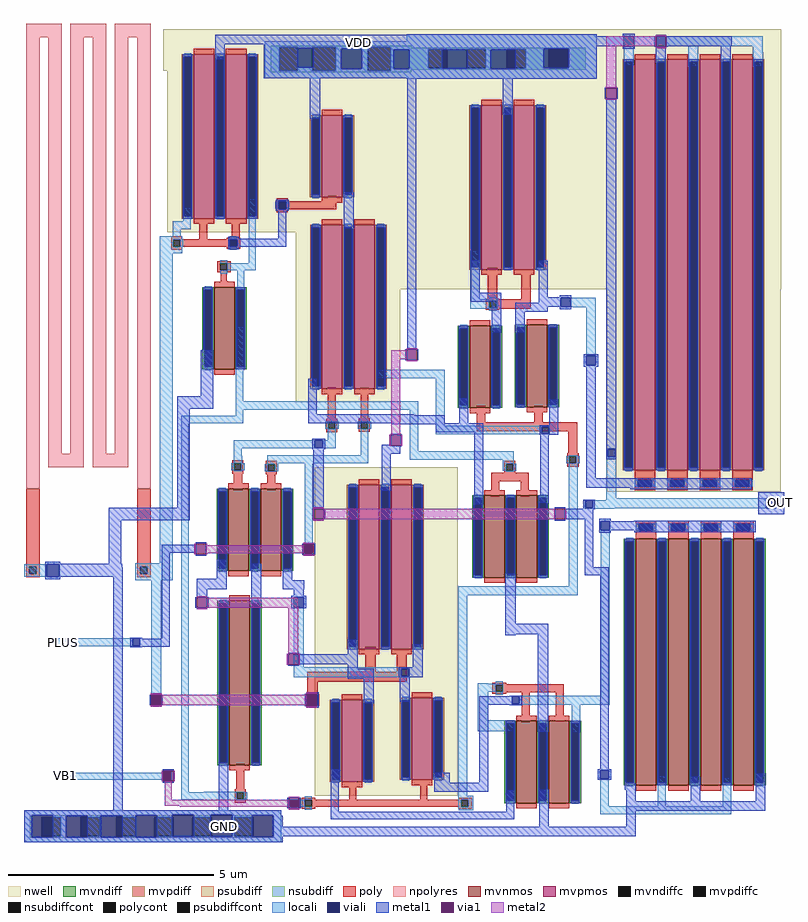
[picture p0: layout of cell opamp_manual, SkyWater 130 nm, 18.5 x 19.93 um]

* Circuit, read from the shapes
.subckt opamp_manual GND OUT PLUS VB1 VDD
XM1 n1 n1 GND GND sky130_fd_pr__nfet_g5v0d10v5 w=2 l=0.5
XM2 n2 OUT n3 GND sky130_fd_pr__nfet_g5v0d10v5 w=2 l=0.5
XM3 n2 n1 GND GND sky130_fd_pr__nfet_g5v0d10v5 w=4 l=0.5
XM4 n4 PLUS n2 GND sky130_fd_pr__nfet_g5v0d10v5 w=2 l=0.5
XM5 n5 VB1 n6 GND sky130_fd_pr__nfet_g5v0d10v5 w=2 l=0.5
XM6 GND n1 n6 GND sky130_fd_pr__nfet_g5v0d10v5 w=2 l=0.5
XM7 GND n7 n7 GND sky130_fd_pr__nfet_g5v0d10v5 w=2 l=0.5
XM8 n8 n1 GND GND sky130_fd_pr__nfet_g5v0d10v5 w=2 l=0.5
XM9 n8 VB1 n9 GND sky130_fd_pr__nfet_g5v0d10v5 w=2 l=0.5
XM10 n10 n7 GND GND sky130_fd_pr__nfet_g5v0d10v5 w=2 l=0.5
XM11 OUT n10 GND GND sky130_fd_pr__nfet_g5v0d10v5 w=6 l=0.5 m=4
XM12 VDD n11 n11 VDD sky130_fd_pr__pfet_g5v0d10v5 w=4 l=0.5
XM13 n1 n11 VDD VDD sky130_fd_pr__pfet_g5v0d10v5 w=4 l=0.5
XM14 n12 n11 VDD VDD sky130_fd_pr__pfet_g5v0d10v5 w=2 l=0.5
XM15 n12 OUT n6 VDD sky130_fd_pr__pfet_g5v0d10v5 w=4 l=0.5
XM16 n3 VB1 n7 n13 sky130_fd_pr__pfet_g5v0d10v5 w=2 l=0.5
XM17 n8 PLUS n12 VDD sky130_fd_pr__pfet_g5v0d10v5 w=4 l=0.5
XM18 VDD n11 n3 n13 sky130_fd_pr__pfet_g5v0d10v5 w=4 l=0.5
XM19 n4 n11 VDD n13 sky130_fd_pr__pfet_g5v0d10v5 w=4 l=0.5
XM20 n10 VB1 n4 n13 sky130_fd_pr__pfet_g5v0d10v5 w=2 l=0.5
XM21 VDD n5 n5 VDD sky130_fd_pr__pfet_g5v0d10v5 w=4 l=0.5
XM22 n9 n5 VDD VDD sky130_fd_pr__pfet_g5v0d10v5 w=4 l=0.5
XM23 OUT n9 VDD VDD sky130_fd_pr__pfet_g5v0d10v5 w=10 l=0.5 m=4
R24 GND n11 sky130_fd_pr__res_generic_po w=0.33 l=66.89
.ends

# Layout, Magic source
magic
tech sky130A
magscale 1 2
<< nwell >>
rect 677 3755 3685 3957
rect 697 2969 3685 3755
rect 1323 2691 3685 2969
rect 1323 2141 1832 2691
rect 1414 228 2112 1825
rect 2837 1707 3683 2691
rect 1423 226 2110 228
<< psubdiff >>
rect 27 123 1213 131
rect 27 30 87 123
rect 180 30 276 123
rect 369 30 450 123
rect 543 30 633 123
rect 726 30 820 123
rect 913 30 1023 123
rect 1116 30 1213 123
rect 27 22 1213 30
<< nsubdiff >>
rect 1202 3869 1886 3877
rect 1202 3756 1243 3869
rect 1333 3756 1404 3869
rect 1517 3756 1673 3869
rect 1786 3868 1886 3869
rect 1786 3860 2734 3868
rect 1786 3768 1967 3860
rect 2059 3768 2156 3860
rect 2248 3768 2350 3860
rect 2442 3768 2555 3860
rect 2647 3768 2734 3860
rect 1786 3760 2734 3768
rect 1786 3756 1886 3760
rect 1202 3748 1886 3756
<< psubdiffcont >>
rect 87 30 180 123
rect 276 30 369 123
rect 450 30 543 123
rect 633 30 726 123
rect 820 30 913 123
rect 1023 30 1116 123
<< nsubdiffcont >>
rect 1243 3756 1333 3869
rect 1404 3756 1517 3869
rect 1673 3756 1786 3869
rect 1967 3768 2059 3860
rect 2156 3768 2248 3860
rect 2350 3768 2442 3860
rect 2555 3768 2647 3860
<< poly >>
rect 1230 3121 1284 3134
rect 1480 3121 1520 3147
rect 1230 3118 1520 3121
rect 1230 3084 1240 3118
rect 1274 3084 1520 3118
rect 1230 3081 1520 3084
rect 1230 3068 1284 3081
rect 716 2935 770 2950
rect 854 2935 891 3030
rect 1012 2944 1049 3035
rect 986 2935 1052 2944
rect 716 2934 1052 2935
rect 716 2900 726 2934
rect 760 2900 1002 2934
rect 1036 2900 1052 2934
rect 716 2898 1052 2900
rect 716 2884 770 2898
rect 986 2890 1052 2898
rect 940 2818 1006 2828
rect 940 2784 956 2818
rect 990 2784 1006 2818
rect 940 2774 1006 2784
rect 958 2732 988 2774
rect 958 2722 992 2732
rect 958 2702 988 2722
rect 2258 2647 2304 2798
rect 2248 2643 2314 2647
rect 2421 2643 2467 2788
rect 2248 2637 2467 2643
rect 2248 2603 2264 2637
rect 2298 2603 2467 2637
rect 2248 2597 2467 2603
rect 2248 2593 2314 2597
rect 1478 2063 1518 2214
rect 1638 2064 1675 2213
rect 1471 2047 1525 2063
rect 1471 2013 1481 2047
rect 1515 2013 1525 2047
rect 1471 1997 1525 2013
rect 1630 2048 1684 2064
rect 1630 2014 1640 2048
rect 1674 2014 1684 2048
rect 1630 1998 1684 2014
rect 2203 2044 2246 2124
rect 2483 2044 2526 2125
rect 2203 2001 2693 2044
rect 2650 1895 2693 2001
rect 2645 1879 2699 1895
rect 1014 1845 1068 1861
rect 1014 1811 1024 1845
rect 1058 1811 1068 1845
rect 1014 1795 1068 1811
rect 1177 1841 1231 1857
rect 1177 1807 1187 1841
rect 1221 1807 1231 1841
rect 1020 1713 1062 1795
rect 1177 1791 1231 1807
rect 2337 1842 2391 1858
rect 2337 1808 2347 1842
rect 2381 1808 2391 1842
rect 2645 1845 2655 1879
rect 2689 1845 2699 1879
rect 2645 1829 2699 1845
rect 2337 1798 2391 1808
rect 1184 1715 1223 1791
rect 2274 1758 2457 1798
rect 2274 1682 2314 1758
rect 2417 1683 2457 1758
rect 1662 831 1712 953
rect 1814 831 1864 937
rect 1379 781 1864 831
rect 1379 720 1429 781
rect 2280 770 2346 778
rect 2280 768 2626 770
rect 2280 734 2296 768
rect 2330 734 2626 768
rect 2280 731 2626 734
rect 2280 724 2346 731
rect 1371 710 1437 720
rect 1371 676 1387 710
rect 1421 676 1437 710
rect 1371 666 1437 676
rect 2423 585 2462 731
rect 2587 590 2626 731
rect 1033 259 1073 383
rect 1026 243 1080 259
rect 1026 209 1036 243
rect 1070 209 1080 243
rect 1026 193 1080 209
rect 1351 208 1417 218
rect 1584 208 1618 298
rect 1929 208 1963 297
rect 2113 208 2179 218
rect 1351 174 1367 208
rect 1401 174 2129 208
rect 2163 174 2179 208
rect 1351 164 1417 174
rect 2113 164 2179 174
<< polycont >>
rect 1240 3084 1274 3118
rect 726 2900 760 2934
rect 1002 2900 1036 2934
rect 956 2784 990 2818
rect 2264 2603 2298 2637
rect 1481 2013 1515 2047
rect 1640 2014 1674 2048
rect 1024 1811 1058 1845
rect 1187 1807 1221 1841
rect 2347 1808 2381 1842
rect 2655 1845 2689 1879
rect 2296 734 2330 768
rect 1387 676 1421 710
rect 1036 209 1070 243
rect 1367 174 1401 208
rect 2129 174 2163 208
<< locali >>
rect 1862 3900 2788 3933
rect 1172 3869 2788 3900
rect 1172 3756 1243 3869
rect 1333 3866 1404 3869
rect 1517 3863 1673 3869
rect 1333 3756 1404 3773
rect 1517 3766 1544 3863
rect 1644 3766 1673 3863
rect 1517 3756 1673 3766
rect 1786 3862 2788 3869
rect 1786 3860 2530 3862
rect 1786 3858 1967 3860
rect 2059 3859 2156 3860
rect 1786 3765 1799 3858
rect 1876 3768 1967 3858
rect 2248 3857 2350 3860
rect 2248 3768 2271 3857
rect 2442 3770 2530 3860
rect 2651 3770 2788 3862
rect 2967 3875 3596 3923
rect 2919 3783 2967 3875
rect 3234 3778 3282 3875
rect 3548 3846 3596 3875
rect 3548 3823 3598 3846
rect 3550 3778 3598 3823
rect 2442 3768 2555 3770
rect 2647 3768 2788 3770
rect 1876 3767 2036 3768
rect 2157 3767 2271 3768
rect 1876 3765 2271 3767
rect 2392 3765 2788 3768
rect 1786 3756 2788 3765
rect 1172 3718 2788 3756
rect 1862 3717 2788 3718
rect 775 3022 812 3088
rect 725 2985 812 3022
rect 725 2950 762 2985
rect 660 2934 770 2950
rect 1002 2936 1036 2950
rect 660 2900 726 2934
rect 760 2900 776 2934
rect 660 2867 770 2900
rect 1002 2884 1036 2899
rect 660 1359 724 2867
rect 956 2818 990 2834
rect 1095 2818 1129 3129
rect 1224 3084 1237 3118
rect 1277 3084 1290 3118
rect 990 2784 1129 2818
rect 956 2768 990 2784
rect 1038 2719 1072 2784
rect 1037 2704 1072 2719
rect 1037 2703 1071 2704
rect 1040 2691 1069 2703
rect 2171 2643 2217 2879
rect 2264 2643 2298 2653
rect 2171 2637 2304 2643
rect 2171 2603 2264 2637
rect 2298 2603 2304 2637
rect 2658 2606 2783 2651
rect 2670 2604 2783 2606
rect 2171 2597 2304 2603
rect 2264 2587 2298 2597
rect 1030 2146 1067 2509
rect 2736 2369 2783 2604
rect 1725 2258 2048 2301
rect 1030 2106 1918 2146
rect 1030 2076 1067 2106
rect 0 1293 110 1354
rect 542 1276 724 1359
rect 765 2039 1067 2076
rect 1478 2047 1518 2050
rect 1639 2048 1676 2050
rect 163 990 567 993
rect 163 956 530 990
rect 564 956 567 990
rect 163 954 567 956
rect 619 713 669 1276
rect 619 675 624 713
rect 664 675 669 713
rect 619 669 669 675
rect 185 306 682 340
rect 765 244 802 2039
rect 1465 2013 1481 2047
rect 1515 2013 1531 2047
rect 1624 2014 1640 2048
rect 1674 2014 1690 2048
rect 1478 1958 1518 2013
rect 1020 1920 1415 1958
rect 1453 1920 1518 1958
rect 1020 1918 1518 1920
rect 1020 1882 1060 1918
rect 1639 1884 1676 2014
rect 1020 1845 1062 1882
rect 1185 1845 1676 1884
rect 1878 1903 1918 2106
rect 2005 2029 2048 2258
rect 2005 2024 2560 2029
rect 2005 1990 2521 2024
rect 2555 1990 2560 2024
rect 2005 1986 2560 1990
rect 2834 1913 2883 1919
rect 2344 1903 2384 1904
rect 1878 1863 2384 1903
rect 2651 1879 2694 1884
rect 1008 1811 1024 1845
rect 1058 1811 1074 1845
rect 1185 1841 1237 1845
rect 1020 1807 1062 1811
rect 1171 1807 1187 1841
rect 1221 1807 1237 1841
rect 1185 1805 1224 1807
rect 1366 1446 1405 1845
rect 2331 1842 2384 1863
rect 2639 1845 2655 1879
rect 2689 1845 2705 1879
rect 2834 1876 2840 1913
rect 2877 1876 2883 1913
rect 2331 1808 2347 1842
rect 2381 1808 2397 1842
rect 2344 1805 2384 1808
rect 2651 1246 2694 1845
rect 2834 1676 2883 1876
rect 2834 1665 3613 1676
rect 2730 1662 3613 1665
rect 2730 1628 2733 1662
rect 2767 1628 3613 1662
rect 2730 1627 3613 1628
rect 2730 1625 2873 1627
rect 2114 1203 2694 1246
rect 1312 853 1361 1145
rect 1312 846 1878 853
rect 1312 809 1835 846
rect 1872 809 1878 846
rect 1312 804 1878 809
rect 1387 718 1421 726
rect 1387 660 1421 668
rect 876 244 1073 246
rect 765 243 1073 244
rect 765 209 1036 243
rect 1070 209 1086 243
rect 2114 226 2157 1203
rect 2208 771 2260 774
rect 2296 771 2330 784
rect 2208 768 2333 771
rect 2208 734 2296 768
rect 2330 734 2333 768
rect 2208 732 2333 734
rect 2208 594 2260 732
rect 2296 718 2330 732
rect 2807 713 2850 1520
rect 2373 708 2850 713
rect 2373 674 2377 708
rect 2411 674 2850 708
rect 2373 670 2850 674
rect 2208 542 2389 594
rect 2665 535 2708 670
rect 765 207 1073 209
rect 1367 208 1401 224
rect 876 206 1073 207
rect 1331 174 1367 208
rect 1367 158 1401 174
rect 2114 208 2186 226
rect 2114 174 2129 208
rect 2163 174 2186 208
rect 2114 164 2186 174
rect 2117 157 2186 164
rect 2805 177 2845 310
rect 3084 177 3124 322
rect 3402 177 3442 313
rect 0 135 1251 157
rect 2805 137 3442 177
rect 0 131 722 135
rect 0 26 37 131
rect 141 129 543 131
rect 141 123 205 129
rect 309 123 374 129
rect 478 123 543 129
rect 647 123 722 131
rect 826 123 909 135
rect 1013 133 1251 135
rect 1013 123 1110 133
rect 180 30 205 123
rect 369 30 374 123
rect 1013 30 1023 123
rect 141 26 205 30
rect 0 24 205 26
rect 309 24 374 30
rect 478 26 543 30
rect 647 28 1110 30
rect 1214 28 1251 133
rect 647 26 1251 28
rect 478 24 1251 26
rect 0 0 1251 24
<< viali >>
rect 1332 3773 1333 3866
rect 1333 3773 1404 3866
rect 1404 3773 1409 3866
rect 1544 3766 1644 3863
rect 2530 3860 2651 3862
rect 1799 3765 1876 3858
rect 2036 3768 2059 3859
rect 2059 3768 2156 3859
rect 2156 3768 2157 3859
rect 2271 3768 2350 3857
rect 2350 3768 2392 3857
rect 2530 3770 2555 3860
rect 2555 3770 2647 3860
rect 2647 3770 2651 3860
rect 2919 3875 2967 3923
rect 2036 3767 2157 3768
rect 2271 3765 2392 3768
rect 1001 2934 1038 2936
rect 1001 2900 1002 2934
rect 1002 2900 1036 2934
rect 1036 2900 1038 2934
rect 1001 2899 1038 2900
rect 1237 3118 1277 3121
rect 1237 3084 1240 3118
rect 1240 3084 1274 3118
rect 1274 3084 1277 3118
rect 1237 3081 1277 3084
rect 2613 2606 2658 2651
rect 2736 2322 2783 2369
rect 110 1293 171 1354
rect 530 956 564 990
rect 624 675 664 713
rect 682 303 716 343
rect 1415 1920 1453 1958
rect 2521 1990 2555 2024
rect 2840 1876 2877 1913
rect 1366 1407 1405 1446
rect 2733 1628 2767 1662
rect 3613 1627 3662 1676
rect 2807 1520 2850 1563
rect 1312 1145 1361 1194
rect 1835 809 1872 846
rect 1379 710 1429 718
rect 1379 676 1387 710
rect 1387 676 1421 710
rect 1421 676 1429 710
rect 1379 668 1429 676
rect 2377 674 2411 708
rect 2805 310 2845 350
rect 1297 174 1331 208
rect 37 123 141 131
rect 205 123 309 129
rect 374 123 478 129
rect 543 123 647 131
rect 722 123 826 135
rect 909 123 1013 135
rect 1110 123 1214 133
rect 37 30 87 123
rect 87 30 141 123
rect 205 30 276 123
rect 276 30 309 123
rect 374 30 450 123
rect 450 30 478 123
rect 543 30 633 123
rect 633 30 647 123
rect 722 30 726 123
rect 726 30 820 123
rect 820 30 826 123
rect 909 30 913 123
rect 913 30 1013 123
rect 1110 30 1116 123
rect 1116 30 1214 123
rect 37 26 141 30
rect 205 24 309 30
rect 374 24 478 30
rect 543 26 647 30
rect 1110 28 1214 30
<< metal1 >>
rect 1862 3932 2788 3933
rect 931 3923 2788 3932
rect 2913 3923 2973 3935
rect 931 3885 2919 3923
rect 931 3811 978 3885
rect 1166 3875 2919 3885
rect 2967 3875 2973 3923
rect 1166 3866 2788 3875
rect 1166 3773 1332 3866
rect 1409 3863 2788 3866
rect 2913 3863 2973 3875
rect 3068 3872 3074 3924
rect 3126 3875 3445 3924
rect 3126 3872 3132 3875
rect 1409 3773 1544 3863
rect 1166 3766 1544 3773
rect 1644 3862 2788 3863
rect 1644 3859 2530 3862
rect 1644 3858 2036 3859
rect 1644 3766 1799 3858
rect 1166 3765 1799 3766
rect 1876 3767 2036 3858
rect 2157 3857 2530 3859
rect 2157 3767 2271 3857
rect 1876 3765 2271 3767
rect 2392 3770 2530 3857
rect 2651 3770 2788 3862
rect 3075 3796 3124 3872
rect 3392 3800 3441 3875
rect 2392 3765 2788 3770
rect 1166 3718 2788 3765
rect 1390 3522 1443 3718
rect 1862 3717 2788 3718
rect 1225 3121 1289 3127
rect 1225 3081 1237 3121
rect 1277 3081 1289 3121
rect 1225 3075 1289 3081
rect 995 2937 1044 2948
rect 1237 2937 1277 3075
rect 1557 2989 1605 3165
rect 995 2936 1277 2937
rect 995 2899 1001 2936
rect 1038 2900 1277 2936
rect 1038 2899 1044 2900
rect 995 2887 1044 2899
rect 1866 2399 1910 3717
rect 2331 3541 2378 3717
rect 2826 3620 2832 3672
rect 2884 3620 2890 3672
rect 2174 2676 2219 2834
rect 2174 2631 2322 2676
rect 2277 2483 2322 2631
rect 2505 2652 2550 2831
rect 2607 2652 2664 2663
rect 2505 2651 2664 2652
rect 2505 2627 2613 2651
rect 2392 2607 2613 2627
rect 2392 2582 2550 2607
rect 2607 2606 2613 2607
rect 2658 2606 2664 2651
rect 2607 2594 2664 2606
rect 2392 2484 2437 2582
rect 861 2171 922 2396
rect 1856 2347 1862 2399
rect 1914 2347 1920 2399
rect 2724 2369 2795 2375
rect 2724 2322 2736 2369
rect 2783 2322 2795 2369
rect 2724 2316 2795 2322
rect 745 2117 922 2171
rect 745 2110 921 2117
rect 745 1628 806 2110
rect 1383 2084 1426 2257
rect 1383 2078 1897 2084
rect 1383 2041 2048 2078
rect 1789 2040 2048 2041
rect 2118 2040 2161 2162
rect 1789 2035 2235 2040
rect 2005 1997 2235 2035
rect 2557 2030 2600 2154
rect 1784 1983 1836 1989
rect 1403 1958 1465 1964
rect 1403 1920 1415 1958
rect 1453 1920 1465 1958
rect 1403 1914 1465 1920
rect 1740 1931 1784 1936
rect 1740 1925 1836 1931
rect 412 1567 806 1628
rect 1409 1624 1459 1914
rect 1740 1892 1832 1925
rect 1740 1712 1784 1892
rect 2192 1645 2235 1997
rect 2509 2024 2600 2030
rect 2509 1990 2521 2024
rect 2555 1990 2600 2024
rect 2509 1985 2600 1990
rect 2509 1984 2567 1985
rect 2512 1654 2555 1984
rect 2736 1773 2783 2316
rect 2834 1913 2883 3620
rect 2834 1876 2840 1913
rect 2877 1876 2883 1913
rect 2834 1864 2883 1876
rect 2736 1726 3542 1773
rect 2951 1718 3542 1726
rect 3574 1676 3699 1703
rect 2721 1662 2779 1668
rect 2582 1624 2634 1630
rect 1402 1572 1408 1624
rect 1460 1572 1466 1624
rect 2721 1628 2733 1662
rect 2767 1628 2779 1662
rect 2721 1623 2779 1628
rect 2634 1622 2779 1623
rect 3574 1627 3613 1676
rect 3662 1627 3699 1676
rect 2634 1573 2770 1622
rect 3574 1596 3699 1627
rect 104 1355 177 1366
rect 412 1355 473 1567
rect 2582 1566 2634 1572
rect 835 1454 887 1460
rect 670 1409 835 1448
rect 104 1354 479 1355
rect 104 1293 110 1354
rect 171 1339 479 1354
rect 171 1294 481 1339
rect 171 1293 177 1294
rect 104 1281 177 1293
rect 435 157 481 1294
rect 518 992 576 996
rect 670 992 709 1409
rect 1360 1453 1411 1458
rect 835 1396 887 1402
rect 1354 1401 1360 1453
rect 1412 1401 1418 1453
rect 1360 1395 1411 1401
rect 937 1282 986 1376
rect 842 1233 986 1282
rect 842 1193 891 1233
rect 834 1141 840 1193
rect 892 1141 898 1193
rect 1106 1158 1154 1356
rect 2730 1340 2770 1573
rect 2801 1563 2856 1575
rect 2970 1563 3561 1565
rect 2801 1520 2807 1563
rect 2850 1520 3561 1563
rect 2801 1508 2856 1520
rect 2970 1510 3561 1520
rect 1259 1277 1305 1332
rect 1259 1231 1364 1277
rect 1312 1200 1361 1231
rect 1300 1194 1373 1200
rect 1300 1145 1312 1194
rect 1361 1145 1373 1194
rect 1300 1139 1373 1145
rect 2343 1063 2393 1307
rect 2730 1300 2845 1340
rect 2343 1013 2551 1063
rect 2343 1009 2393 1013
rect 518 990 709 992
rect 518 956 530 990
rect 564 956 709 990
rect 518 953 709 956
rect 518 950 576 953
rect 1285 917 1337 923
rect 1576 915 1625 986
rect 1337 866 1625 915
rect 1285 859 1337 865
rect 1576 846 1625 866
rect 1892 852 1941 965
rect 1823 846 1941 852
rect 1576 797 1702 846
rect 1823 809 1835 846
rect 1872 809 1941 846
rect 1823 803 1941 809
rect 618 719 670 725
rect 1373 724 1435 730
rect 612 667 618 719
rect 670 667 676 719
rect 618 663 670 667
rect 1367 662 1373 724
rect 1425 718 1435 724
rect 1429 668 1435 718
rect 1653 676 1702 797
rect 1829 684 1878 803
rect 2365 712 2423 714
rect 2216 708 2423 712
rect 1425 662 1435 668
rect 1373 656 1435 662
rect 2216 674 2377 708
rect 2411 674 2423 708
rect 2216 669 2423 674
rect 676 349 728 355
rect 670 297 676 349
rect 676 291 728 297
rect 947 157 993 386
rect 1291 217 1337 220
rect 1282 165 1288 217
rect 1340 165 1346 217
rect 1291 162 1337 165
rect 0 135 1251 157
rect 0 131 722 135
rect 0 26 37 131
rect 141 129 543 131
rect 141 26 205 129
rect 0 24 205 26
rect 309 24 374 129
rect 478 26 543 129
rect 647 30 722 131
rect 826 30 909 135
rect 1013 133 1251 135
rect 1013 30 1110 133
rect 647 28 1110 30
rect 1214 129 1251 133
rect 1494 150 1532 355
rect 1996 290 2072 338
rect 2216 290 2259 669
rect 2365 668 2423 669
rect 2501 538 2551 1013
rect 2805 356 2845 1300
rect 2793 350 2857 356
rect 2793 310 2805 350
rect 2845 310 2857 350
rect 2793 304 2857 310
rect 1996 247 2259 290
rect 2925 286 2972 287
rect 2348 150 2386 253
rect 1214 75 1260 129
rect 1494 112 2386 150
rect 2507 75 2553 256
rect 2925 255 2978 286
rect 2932 201 2978 255
rect 3246 201 3292 320
rect 3561 201 3607 335
rect 2932 155 3607 201
rect 2932 75 2978 155
rect 1214 29 2978 75
rect 1214 28 1260 29
rect 647 26 1260 28
rect 478 24 1260 26
rect 0 0 1260 24
<< via1 >>
rect 3074 3872 3126 3924
rect 2832 3620 2884 3672
rect 1862 2347 1914 2399
rect 1784 1931 1836 1983
rect 1408 1572 1460 1624
rect 2582 1572 2634 1624
rect 835 1402 887 1454
rect 1360 1446 1412 1453
rect 1360 1407 1366 1446
rect 1366 1407 1405 1446
rect 1405 1407 1412 1446
rect 1360 1401 1412 1407
rect 840 1141 892 1193
rect 1285 865 1337 917
rect 618 713 670 719
rect 618 675 624 713
rect 624 675 664 713
rect 664 675 670 713
rect 618 667 670 675
rect 1373 718 1425 724
rect 1373 668 1379 718
rect 1379 668 1425 718
rect 1373 662 1425 668
rect 676 343 728 349
rect 676 303 682 343
rect 682 303 716 343
rect 716 303 728 343
rect 676 297 728 303
rect 1288 208 1340 217
rect 1288 174 1297 208
rect 1297 174 1331 208
rect 1331 174 1340 208
rect 1288 165 1340 174
<< metal2 >>
rect 3074 3924 3126 3930
rect 2833 3874 3074 3923
rect 2833 3678 2882 3874
rect 3074 3866 3126 3872
rect 2832 3672 2884 3678
rect 2832 3614 2884 3620
rect 1862 2399 1914 2405
rect 1788 2351 1862 2395
rect 1788 1983 1832 2351
rect 1862 2341 1914 2347
rect 1778 1931 1784 1983
rect 1836 1931 1842 1983
rect 1408 1624 1460 1630
rect 1405 1573 1408 1623
rect 2576 1623 2582 1624
rect 1460 1573 2582 1623
rect 2576 1572 2582 1573
rect 2634 1572 2640 1624
rect 1408 1566 1460 1572
rect 829 1402 835 1454
rect 887 1447 893 1454
rect 1360 1453 1412 1459
rect 887 1408 1360 1447
rect 887 1402 893 1408
rect 1360 1395 1412 1401
rect 840 1193 892 1199
rect 892 1189 1328 1191
rect 892 1142 1336 1189
rect 840 1135 892 1141
rect 1287 917 1336 1142
rect 1279 865 1285 917
rect 1337 865 1343 917
rect 618 719 670 725
rect 1373 724 1425 730
rect 670 668 1373 718
rect 618 661 670 667
rect 1373 656 1425 662
rect 670 297 676 349
rect 728 297 734 349
rect 685 208 719 297
rect 1288 217 1340 223
rect 685 179 1288 208
rect 759 174 1288 179
rect 1288 159 1340 165
use sky130_fd_pr__nfet_g5v0d10v5_PMDTK2  sky130_fd_pr__nfet_g5v0d10v5_PMDTK2_0
transform 1 0 1049 0 1 776
box -108 -426 108 426
use sky130_fd_pr__nfet_g5v0d10v5_RMDT5Q  sky130_fd_pr__nfet_g5v0d10v5_RMDT5Q_0
transform 1 0 975 0 1 2502
box -108 -226 108 226
use sky130_fd_pr__nfet_g5v0d10v5_RMDT5Q  sky130_fd_pr__nfet_g5v0d10v5_RMDT5Q_1
transform 1 0 2496 0 1 2319
box -108 -226 108 226
use sky130_fd_pr__nfet_g5v0d10v5_RMDT5Q  sky130_fd_pr__nfet_g5v0d10v5_RMDT5Q_2
transform 1 0 2219 0 1 2315
box -108 -226 108 226
use sky130_fd_pr__nfet_g5v0d10v5_S6V9QV  sky130_fd_pr__nfet_g5v0d10v5_S6V9QV_0
transform 1 0 3264 0 1 909
box -345 -657 345 657
use sky130_fd_pr__nfet_g5v0d10v5_V6DT5N  sky130_fd_pr__nfet_g5v0d10v5_V6DT5N_0
transform 1 0 2368 0 1 1489
box -187 -226 187 226
use sky130_fd_pr__nfet_g5v0d10v5_V6DT5N  sky130_fd_pr__nfet_g5v0d10v5_V6DT5N_1
transform 1 0 1124 0 1 1521
box -187 -226 187 226
use sky130_fd_pr__nfet_g5v0d10v5_V6DT5N  sky130_fd_pr__nfet_g5v0d10v5_V6DT5N_2
transform 1 0 2525 0 1 391
box -187 -226 187 226
use sky130_fd_pr__pfet_g5v0d10v5_8FJ7Y8  sky130_fd_pr__pfet_g5v0d10v5_8FJ7Y8_0
transform 1 0 954 0 1 3436
box -253 -466 253 466
use sky130_fd_pr__pfet_g5v0d10v5_D4MKA2  sky130_fd_pr__pfet_g5v0d10v5_D4MKA2_0
transform 1 0 1499 0 1 3340
box -174 -266 174 266
use sky130_fd_pr__pfet_g5v0d10v5_D4MKA2  sky130_fd_pr__pfet_g5v0d10v5_D4MKA2_1
transform 1 0 1937 0 1 504
box -174 -266 174 266
use sky130_fd_pr__pfet_g5v0d10v5_D4MKA2  sky130_fd_pr__pfet_g5v0d10v5_D4MKA2_2
transform 1 0 1596 0 1 494
box -174 -266 174 266
use sky130_fd_pr__pfet_g5v0d10v5_D8UYD2  sky130_fd_pr__pfet_g5v0d10v5_D8UYD2_0
transform 1 0 1579 0 1 2607
box -253 -466 253 466
use sky130_fd_pr__pfet_g5v0d10v5_D8UYD2  sky130_fd_pr__pfet_g5v0d10v5_D8UYD2_1
transform 1 0 2355 0 1 3188
box -253 -466 253 466
use sky130_fd_pr__pfet_g5v0d10v5_D8UYD2  sky130_fd_pr__pfet_g5v0d10v5_D8UYD2_2
transform 1 0 1759 0 1 1341
box -253 -466 253 466
use sky130_fd_pr__pfet_g5v0d10v5_H9HYDU  sky130_fd_pr__pfet_g5v0d10v5_H9HYDU_0
transform 1 0 3259 0 1 2775
box -411 -1064 411 1102
use sky130_fd_pr__res_generic_po_RXJSZ5  sky130_fd_pr__res_generic_po_RXJSZ5_0
transform 1 0 313 0 1 2638
box -303 -1347 303 1347
<< labels >>
flabel metal1 s 1627 3894 1627 3894 0 FreeSans 1600 0 0 0 VDD
flabel locali s 192 971 192 971 0 FreeSans 1600 0 0 0 PLUS
flabel locali s 202 325 202 325 0 FreeSans 1600 0 0 0 VB1
flabel metal1 s 976 79 976 79 0 FreeSans 1600 0 0 0 GND
flabel metal1 s 3680 1652 3680 1652 0 FreeSans 1600 0 0 0 OUT
<< end >>

# cell sky130_fd_pr__nfet_g5v0d10v5_PMDTK2: kit device sky130_fd_pr__nfet_g5v0d10v5, w 4 l 0.50 m 1 nf 1 diffcov 100 polycov 100 guard 0 glc 1 grc 1 gtc 1 gbc 1 tbcov 100 rlcov 100 topc 0 botc 0 poverlap 0 doverlap 1 lmin 0.50 wmin 0.42 compatible {sky130_fd_pr__nfet_01v8 sky130_fd_pr__nfet_01v8_lvt sky130_fd_bs_flash__special_sonosfet_star sky130_fd_pr__nfet_g5v0d10v5 sky130_fd_pr__nfet_05v0_nvt sky130_fd_pr__nfet_03v3_nvt} full_metal 1 viasrc 100 viadrn 100 viagate 100 viagb 0 viagr 0 viagl 0 viagt 0

# cell sky130_fd_pr__nfet_g5v0d10v5_RMDT5Q: kit device sky130_fd_pr__nfet_g5v0d10v5, w 2 l 0.50 m 1 nf 1 diffcov 100 polycov 100 guard 0 glc 1 grc 1 gtc 1 gbc 1 tbcov 100 rlcov 100 topc 0 botc 0 poverlap 0 doverlap 1 lmin 0.50 wmin 0.42 compatible {sky130_fd_pr__nfet_01v8 sky130_fd_pr__nfet_01v8_lvt sky130_fd_bs_flash__special_sonosfet_star sky130_fd_pr__nfet_g5v0d10v5 sky130_fd_pr__nfet_05v0_nvt sky130_fd_pr__nfet_03v3_nvt} full_metal 1 viasrc 100 viadrn 100 viagate 100 viagb 0 viagr 0 viagl 0 viagt 0

# cell sky130_fd_pr__nfet_g5v0d10v5_S6V9QV: kit device sky130_fd_pr__nfet_g5v0d10v5, w 6 l 0.50 m 1 nf 4 diffcov 100 polycov 100 guard 0 glc 1 grc 1 gtc 1 gbc 1 tbcov 100 rlcov 100 topc 1 botc 0 poverlap 0 doverlap 1 lmin 0.50 wmin 0.42 compatible {sky130_fd_pr__nfet_01v8 sky130_fd_pr__nfet_01v8_lvt sky130_fd_bs_flash__special_sonosfet_star sky130_fd_pr__nfet_g5v0d10v5 sky130_fd_pr__nfet_05v0_nvt sky130_fd_pr__nfet_03v3_nvt} full_metal 1 viasrc 100 viadrn 100 viagate 100 viagb 0 viagr 0 viagl 0 viagt 0

# cell sky130_fd_pr__nfet_g5v0d10v5_V6DT5N: kit device sky130_fd_pr__nfet_g5v0d10v5, w 2 l 0.50 m 1 nf 2 diffcov 100 polycov 100 guard 0 glc 1 grc 1 gtc 1 gbc 1 tbcov 100 rlcov 100 topc 0 botc 0 poverlap 0 doverlap 1 lmin 0.50 wmin 0.42 compatible {sky130_fd_pr__nfet_01v8 sky130_fd_pr__nfet_01v8_lvt sky130_fd_bs_flash__special_sonosfet_star sky130_fd_pr__nfet_g5v0d10v5 sky130_fd_pr__nfet_05v0_nvt sky130_fd_pr__nfet_03v3_nvt} full_metal 1 viasrc 100 viadrn 100 viagate 100 viagb 0 viagr 0 viagl 0 viagt 0

# cell sky130_fd_pr__pfet_g5v0d10v5_8FJ7Y8: kit device sky130_fd_pr__pfet_g5v0d10v5, w 4 l 0.5 m 1 nf 2 diffcov 100 polycov 100 guard 0 glc 1 grc 1 gtc 1 gbc 1 tbcov 100 rlcov 100 topc 0 botc 0 poverlap 0 doverlap 1 lmin 0.50 wmin 0.42 compatible {sky130_fd_pr__pfet_01v8 sky130_fd_pr__pfet_01v8_lvt sky130_fd_pr__pfet_01v8_hvt sky130_fd_pr__pfet_g5v0d10v5} full_metal 1 viasrc 100 viadrn 100 viagate 100 viagb 0 viagr 0 viagl 0 viagt 0

# cell sky130_fd_pr__pfet_g5v0d10v5_D4MKA2: kit device sky130_fd_pr__pfet_g5v0d10v5, w 2 l 0.50 m 1 nf 1 diffcov 100 polycov 100 guard 0 glc 1 grc 1 gtc 1 gbc 1 tbcov 100 rlcov 100 topc 0 botc 0 poverlap 0 doverlap 1 lmin 0.50 wmin 0.42 compatible {sky130_fd_pr__pfet_01v8 sky130_fd_pr__pfet_01v8_lvt sky130_fd_pr__pfet_01v8_hvt sky130_fd_pr__pfet_g5v0d10v5} full_metal 1 viasrc 100 viadrn 100 viagate 100 viagb 0 viagr 0 viagl 0 viagt 0

# cell sky130_fd_pr__pfet_g5v0d10v5_D8UYD2: kit device sky130_fd_pr__pfet_g5v0d10v5, w 4 l 0.50 m 1 nf 2 diffcov 100 polycov 100 guard 0 glc 1 grc 1 gtc 1 gbc 1 tbcov 100 rlcov 100 topc 0 botc 0 poverlap 0 doverlap 1 lmin 0.50 wmin 0.42 compatible {sky130_fd_pr__pfet_01v8 sky130_fd_pr__pfet_01v8_lvt sky130_fd_pr__pfet_01v8_hvt sky130_fd_pr__pfet_g5v0d10v5} full_metal 1 viasrc 100 viadrn 100 viagate 100 viagb 0 viagr 0 viagl 0 viagt 0

# cell sky130_fd_pr__pfet_g5v0d10v5_H9HYDU: kit device sky130_fd_pr__pfet_g5v0d10v5, w 10 l 0.50 m 1 nf 4 diffcov 100 polycov 100 guard 0 glc 1 grc 1 gtc 1 gbc 1 tbcov 100 rlcov 100 topc 0 botc 1 poverlap 0 doverlap 1 lmin 0.50 wmin 0.42 compatible {sky130_fd_pr__pfet_01v8 sky130_fd_pr__pfet_01v8_lvt sky130_fd_pr__pfet_01v8_hvt sky130_fd_pr__pfet_g5v0d10v5} full_metal 1 viasrc 100 viadrn 100 viagate 100 viagb 0 viagr 0 viagl 0 viagt 0

# cell sky130_fd_pr__res_generic_po_RXJSZ5: kit device sky130_fd_pr__res_generic_po, w 0.33 l 10.8 m 1 nx 6 wmin 0.330 lmin 1.650 rho 48.2 val 9.997k dummy 0 dw 0.0 term 0.0 sterm 0.0 caplen 0.4 snake 1 guard 0 glc 1 grc 1 gtc 1 gbc 1 roverlap 0 endcov 100 full_metal 1 hv_guard 0 n_guard 0 vias 1 viagb 0 viagt 0 viagl 0 viagr 0
